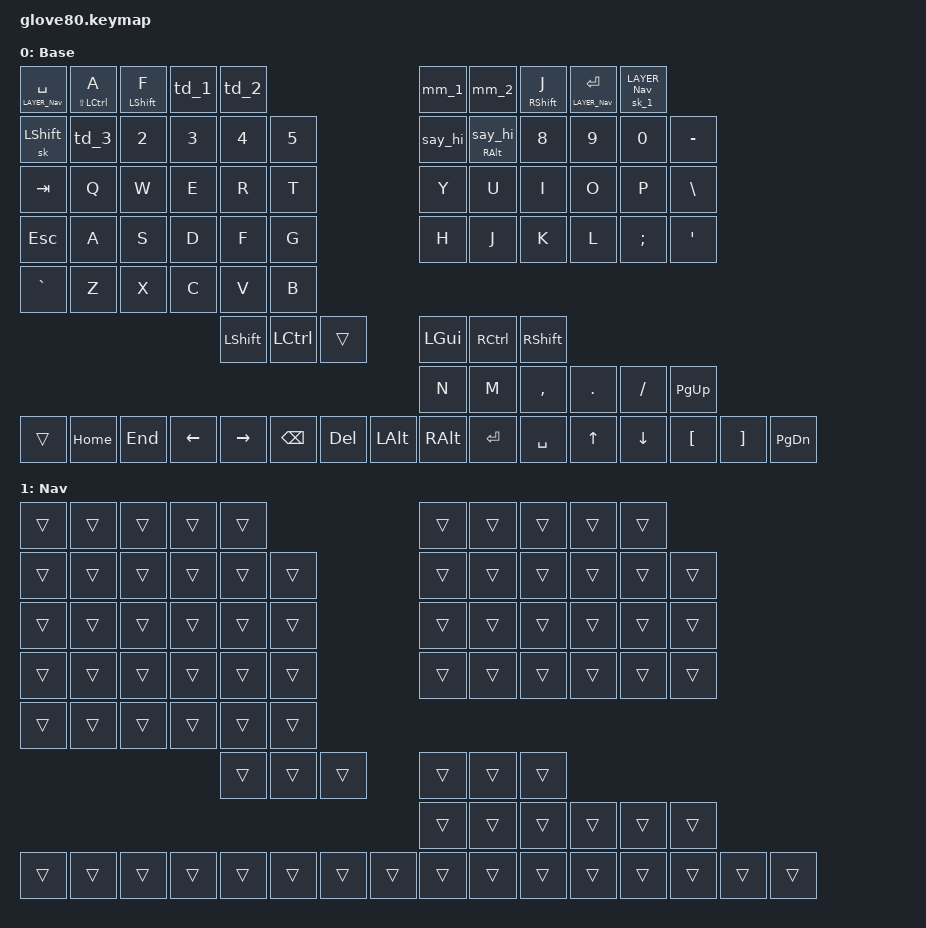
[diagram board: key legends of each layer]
/* Generated by Keyboard Curator. Change the board or the layout there, not this file. */

#include <behaviors.dtsi>
#include <dt-bindings/zmk/keys.h>
#include <dt-bindings/zmk/bt.h>
#include <dt-bindings/zmk/outputs.h>
#include <dt-bindings/zmk/rgb.h>
#include <dt-bindings/zmk/ext_power.h>
#include <dt-bindings/zmk/pointing.h>
#include <input/processors.dtsi>
#include <dt-bindings/zmk/input_transform.h>

#define LAYER_Base 0
#define LAYER_Nav 1

/ {
    behaviors {
        // Key 1 on Base: A, hold for ⇧Ctrl
        ht_1: ht_1 {
            compatible = "zmk,behavior-hold-tap";
            #binding-cells = <2>;
            flavor = "hold-preferred";
            tapping-term-ms = <250>;
            retro-tap;
            bindings = <&kp>, <&kp>;
        };
        // Template: Home-row mod
        home_row_mod: home_row_mod {
            compatible = "zmk,behavior-hold-tap";
            #binding-cells = <2>;
            flavor = "balanced";
            tapping-term-ms = <280>;
            quick-tap-ms = <175>;
            require-prior-idle-ms = <150>;
            hold-trigger-key-positions = <5 6 7 8 9 16 17 18 19 20 21 28 29 30 31 32 33 40 41 42 43 44 45 55 56 57 58 59 60 61 62 63 72 73 74 75 76 77 78 79>;
            hold-trigger-on-release;
            bindings = <&kp>, <&kp>;
        };
        // Key 8 on Base: Enter, hold for Nav
        ht_2: ht_2 {
            compatible = "zmk,behavior-hold-tap";
            #binding-cells = <2>;
            flavor = "balanced";
            tapping-term-ms = <280>;
            quick-tap-ms = <175>;
            require-prior-idle-ms = <150>;
            hold-trigger-key-positions = <0 1 2 3 4 10 11 12 13 14 15 22 23 24 25 26 27 34 35 36 37 38 39 46 47 48 49 50 51 52 53 54 64 65 66 67 68 69 70 71>;
            hold-trigger-on-release;
            bindings = <&mo>, <&kp>;
        };
        // Key 3 on Base: Q; tap twice for Esc
        td_1: td_1 {
            compatible = "zmk,behavior-tap-dance";
            #binding-cells = <0>;
            tapping-term-ms = <200>;
            bindings = <&kp Q>, <&kp ESC>;
        };
        // Key 4 on Base: W, hold for Alt; tap twice for Tab, hold for Nav; three times for Caps word
        td_2: td_2 {
            compatible = "zmk,behavior-tap-dance";
            #binding-cells = <0>;
            tapping-term-ms = <200>;
            bindings = <&mt LALT W>, <&lt LAYER_Nav TAB>, <&caps_word>;
        };
        // Key 5 on Base: ,, with ⇧ held ;
        mm_1: mm_1 {
            compatible = "zmk,behavior-mod-morph";
            #binding-cells = <0>;
            bindings = <&kp COMMA>, <&kp SEMI>;
            mods = <(MOD_LSFT|MOD_RSFT)>;
        };
        // Key 6 on Base: Bksp, hold for RCtrl, with ⇧ held Del
        mm_2: mm_2 {
            compatible = "zmk,behavior-mod-morph";
            #binding-cells = <0>;
            bindings = <&mt RCTRL BSPC>, <&kp DEL>;
            mods = <(MOD_LSFT|MOD_RSFT)>;
        };
        // Key 9 on Base: Sticky Nav while held
        sk_1: sk_1 {
            compatible = "zmk,behavior-sticky-key";
            #binding-cells = <1>;
            bindings = <&mo>;
            release-after-ms = <500>;
            quick-release;
            ignore-modifiers;
        };
        // Key 11 on Base: Sticky Gui; tap twice for Caps word
        td_3: td_3 {
            compatible = "zmk,behavior-tap-dance";
            #binding-cells = <0>;
            tapping-term-ms = <200>;
            bindings = <&sk LGUI>, <&caps_word>;
        };
        // Key 17 on Base: Macro: Say hi, hold for RAlt
        ht_3: ht_3 {
            compatible = "zmk,behavior-hold-tap";
            #binding-cells = <2>;
            flavor = "hold-preferred";
            tapping-term-ms = <200>;
            bindings = <&kp>, <&say_hi>;
        };
        // Template: Home-row mod
        home_row_mod_right: home_row_mod_right {
            compatible = "zmk,behavior-hold-tap";
            #binding-cells = <2>;
            flavor = "balanced";
            tapping-term-ms = <280>;
            quick-tap-ms = <175>;
            require-prior-idle-ms = <150>;
            hold-trigger-key-positions = <0 1 2 3 4 10 11 12 13 14 15 22 23 24 25 26 27 34 35 36 37 38 39 46 47 48 49 50 51 52 53 54 64 65 66 67 68 69 70 71>;
            hold-trigger-on-release;
            bindings = <&kp>, <&kp>;
        };
    };

    macros {
        // Template: Say hi
        say_hi: say_hi {
            compatible = "zmk,behavior-macro";
            #binding-cells = <0>;
            bindings
                = <&macro_press &kp LSHFT>
                , <&macro_tap &kp H &kp I>
                , <&macro_release &kp LSHFT>
                ;
        };
    };

    keymap {
        compatible = "zmk,keymap";

        layer_0_Base {
            display-name = "Base";
            bindings = <
                &lt LAYER_Nav SPACE  &ht_1 LS(LCTRL) A  &home_row_mod LSHFT F  &td_1     &td_2                                             &mm_1         &mm_2      &home_row_mod_right RSHFT J  &ht_2 LAYER_Nav RET  &sk_1 LAYER_Nav
                &sk LSHFT            &td_3              &kp N2                 &kp N3    &kp N4     &kp N5                        &say_hi  &ht_3 RALT 0  &kp N8     &kp N9                       &kp N0               &kp MINUS
                &kp TAB              &kp Q              &kp W                  &kp E     &kp R      &kp T                         &kp Y    &kp U         &kp I      &kp O                        &kp P                &kp BSLH
                &kp ESC              &kp A              &kp S                  &kp D     &kp F      &kp G                         &kp H    &kp J         &kp K      &kp L                        &kp SEMI             &kp SQT
                &kp GRAVE            &kp Z              &kp X                  &kp C     &kp V      &kp B
                                                                                         &kp LSHFT  &kp LCTRL  &trans                      &kp LGUI      &kp RCTRL  &kp RSHFT
                                                                                                                                  &kp N    &kp M         &kp COMMA  &kp DOT                      &kp FSLH             &kp PG_UP
                &trans               &kp HOME           &kp END                &kp LEFT  &kp RIGHT  &kp BSPC   &kp DEL  &kp LALT           &kp RALT      &kp RET    &kp SPACE                    &kp UP               &kp DOWN         &kp LBKT  &kp RBKT  &kp PG_DN
            >;
        };

        layer_1_Nav {
            display-name = "Nav";
            bindings = <
                &trans  &trans  &trans  &trans  &trans                                  &trans  &trans  &trans  &trans  &trans
                &trans  &trans  &trans  &trans  &trans  &trans                  &trans  &trans  &trans  &trans  &trans  &trans
                &trans  &trans  &trans  &trans  &trans  &trans                  &trans  &trans  &trans  &trans  &trans  &trans
                &trans  &trans  &trans  &trans  &trans  &trans                  &trans  &trans  &trans  &trans  &trans  &trans
                &trans  &trans  &trans  &trans  &trans  &trans
                                                &trans  &trans  &trans                  &trans  &trans  &trans
                                                                                &trans  &trans  &trans  &trans  &trans  &trans
                &trans  &trans  &trans  &trans  &trans  &trans  &trans  &trans          &trans  &trans  &trans  &trans  &trans  &trans  &trans  &trans
            >;
        };
    };
};
